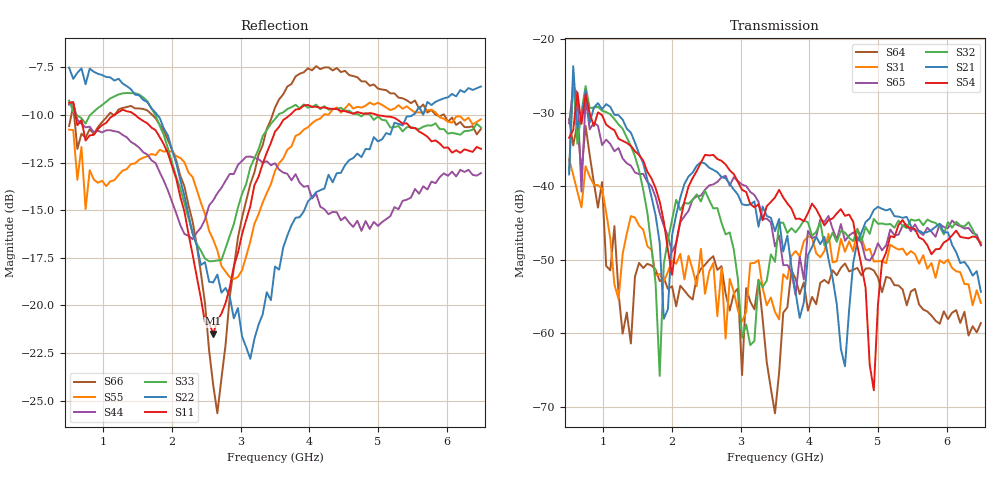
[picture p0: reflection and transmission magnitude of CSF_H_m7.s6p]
!Keysight Technologies,M9804A,MY58100912,A.14.10.03
!Date: Thursday, April 27, 2023 10:28:33
!Correction: S11(C  6-Port  )
!S12(C  6-Port  )
!S13(C  6-Port  )
!S14(C  6-Port  )
!S15(C  6-Port  )
!S16(C  6-Port  )
!S21(C  6-Port  )
!S22(C  6-Port  )
!S23(C  6-Port  )
!S24(C  6-Port  )
!S25(C  6-Port  )
!S26(C  6-Port  )
!S31(C  6-Port  )
!S32(C  6-Port  )
!S33(C  6-Port  )
!S34(C  6-Port  )
!S35(C  6-Port  )
!S36(C  6-Port  )
!S41(C  6-Port  )
!S42(C  6-Port  )
!S43(C  6-Port  )
!S44(C  6-Port  )
!S45(C  6-Port  )
!S46(C  6-Port  )
!S51(C  6-Port  )
!S52(C  6-Port  )
!S53(C  6-Port  )
!S54(C  6-Port  )
!S55(C  6-Port  )
!S56(C  6-Port  )
!S61(C  6-Port  )
!S62(C  6-Port  )
!S63(C  6-Port  )
!S64(C  6-Port  )
!S65(C  6-Port  )
!S66(C  6-Port  )
!S6P File: Measurement: :
# Hz S  RI  R 50
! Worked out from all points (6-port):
!   101 points, 500 MHz to 6.5 GHz, reference 50 ohm
!   strongest paths, dB at 500 MHz, 2 GHz, 3.5 GHz, 5 GHz, 6.5 GHz:
!     S54: -33.4, -52.0, -41.5, -56.1, -47.9
!     S21: -38.4, -46.7, -46.1, -42.8, -54.3
!     S32: -38.0, -44.5, -50.3, -45.1, -47.6
!     S65: -31.4, -48.9, -48.2, -47.7, -48.0
!     S31: -36.3, -50.1, -57.1, -50.2, -55.8
!     S64: -30.8, -53.6, -70.9, -52.4, -58.6
!   lowest |S11| = -21.5 dB at 2.6 GHz (marker M1), VSWR 1.18, Z = 42.5 + j2.22 ohm
!   |S11| at or under -10 dB: 593.6 MHz to 1.154 GHz (560.8 MHz wide, 64.2 % of centre); 1.463 GHz to 3.716 GHz (2.253 GHz wide, 87 % of centre); 4.989 GHz to end of sweep
